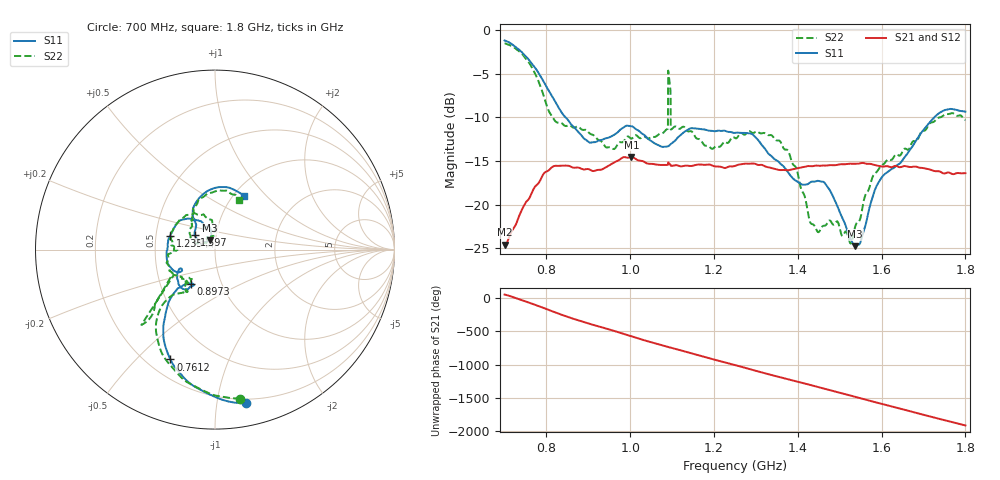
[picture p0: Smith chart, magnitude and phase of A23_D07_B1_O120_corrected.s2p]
! Created with skrf 1.9.0 (http://scikit-rf.org).
# Hz S RI R 50.0
!freq ReS11 ImS11 ReS21 ImS21 ReS12 ImS12 ReS22 ImS22
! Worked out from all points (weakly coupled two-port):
!   1601 points, 700 MHz to 1.8 GHz, reference 50 ohm
!   highest |S21| = -14.54 dB at 1.002 GHz (marker M1); lowest = -24.6 dB at 700 MHz (marker M2)
!   lowest |S11| = -24.8 dB at 1.537 GHz (marker M3), VSWR 1.12, Z = 47.2 + j4.88 ohm
!   |S11| at or under -10 dB: 845.8 MHz to 1.726 GHz (879.8 MHz wide, 68.4 % of centre)
!   |S22| runs from -24.5 to -1.5 dB; largest |S21 - S12| = 0.0036
!   S11 on the Smith chart (normalised r, x): 700 MHz: 0.17, -1.21; 761.2 MHz: 0.29, -0.63; 897.3 MHz: 0.71, -0.29; 1.235 GHz: 0.59, +0.10; 1.597 GHz: 0.79, +0.13; 1.8 GHz: 1.12, +0.76
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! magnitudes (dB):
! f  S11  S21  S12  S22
! 700 MHz  -1.2  -24.6  -24.4  -1.5
! 761.2 MHz  -3.6  -19.1  -19.0  -3.9
! 818.9 MHz  -8.0  -15.6  -15.7  -10.3
! 883.6 MHz  -12.1  -15.9  -15.8  -11.4
! 897.3 MHz  -12.7  -15.9  -16.0  -11.5
! 1.002 GHz  -11.0  -14.5  -14.6  -12.4
! 1.067 GHz  -13.2  -15.4  -15.4  -12.0
! 1.084 GHz  -13.4  -15.4  -15.4  -11.5
! 1.096 GHz  -13.1  -15.4  -15.5  -6.9
! 1.102 GHz  -12.9  -15.5  -15.5  -11.2
! 1.235 GHz  -11.7  -15.6  -15.7  -12.9
! 1.25 GHz  -11.8  -15.5  -15.5  -12.4
! 1.357 GHz  -15.2  -16.0  -16.0  -12.7
! 1.396 GHz  -17.3  -15.9  -15.9  -15.8
! 1.434 GHz  -17.4  -15.6  -15.6  -22.2
! 1.471 GHz  -18.0  -15.5  -15.5  -22.0
! 1.526 GHz  -23.9  -15.3  -15.3  -24.4
! 1.537 GHz  -24.8  -15.3  -15.3  -22.6
! 1.597 GHz  -17.1  -15.6  -15.6  -15.7
! 1.617 GHz  -16.2  -15.6  -15.6  -14.8
! 1.735 GHz  -9.6  -16.2  -16.2  -10.0
! 1.8 GHz  -9.3  -16.4  -16.4  -10.3
